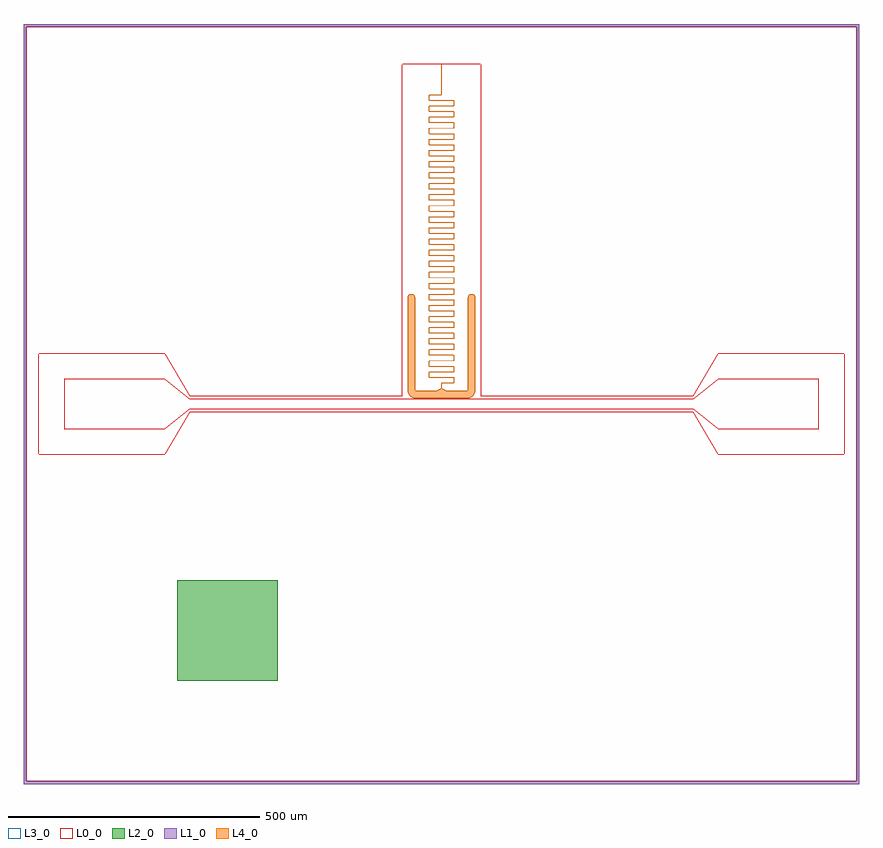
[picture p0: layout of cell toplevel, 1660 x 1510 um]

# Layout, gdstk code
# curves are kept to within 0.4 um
import gdstk
lib = gdstk.Library(unit=1e-6, precision=1e-09)
def R(c, l, rs):  # rectangles x0, y0, x1, y1
    for r in rs: c.add(gdstk.rectangle(r[:2], r[2:], *l))
def P(c, l, *ps):  # polygons
    for p in ps: c.add(gdstk.Polygon(p, *l))
L0_0 = (0, 0)
L1_0 = (1, 0)
L2_0 = (2, 0)
L3_0 = (3, 0)
L4_0 = (4, 0)

toplevel = lib.new_cell('toplevel')
P(toplevel, L0_0, [(825,750),(-825,750),(-825,-100),(-800,-100),(-800,100),(-550,100),(-500,15),(-77.5,15),(-77.5,675),(77.5,675),(77.5,15),(500,15),(550,100),(800,100),(800,-100),(550,-100),(500,-15),(-500,-15),(-550,-100),(-825,-100),(-825,-750),(825,-750)],
  [(-500,10),(-550,50),(-750,50),(-750,-50),(-550,-50),(-500,-10),(500,-10),(550,-50),(750,-50),(750,50),(550,50),(500,10)])
P(toplevel, L1_0, [(830,755),(-830,755),(-830,-750),(-825,-750),(-825,750),(825,750),(825,-750),(-825,-750),(-830,-750),(-830,-755),(830,-755)])
R(toplevel, L2_0, [(-525,-550,-325,-350)])
R(toplevel, L3_0, [(-825,-750,825,750)])
P(toplevel, L4_0, [(-60.327,218.493),(-63.17,217.797),(-65.303,216.303),(-66.797,214.17),(-67.493,211.327),(-67.49,30.69),(-66.789,24.362),(-64.798,19.329),(-62.071,15.873),(-58.548,13.355),(-54.237,11.735),(-49.225,11.054),(48.114,11.016),(54.237,11.735),(59.171,13.702),(62.627,16.429),(65.253,20.16),(66.858,24.658),(67.466,29.76),(67.5,211),(66.495,214.75),(63.17,217.797),(58.377,218.322),(54.47,216.067),(52.529,211.654),(52.499,31.64),(51.848,26.898),(47.275,26.004),(-48.105,26.021),(-51.746,26.754),(-52.485,30.608),(-52.507,211.327),(-53.203,214.17),(-54.933,216.53),(-57.435,218.048)],
  [(0.5,30.9),(0.505,40.377),(0.627,40.98),(0.945,41.284),(1.741,41.4),(23.423,41.403),(24.266,41.527),(24.893,41.877),(25.346,42.557),(25.499,43.524),(25.494,51.43),(25.376,52.155),(25.089,52.714),(24.387,53.23),(23.357,53.399),(-23.831,53.445),(-24.315,53.722),(-24.493,54.385),(-24.499,62.25),(-24.35,63.023),(-23.992,63.31),(-23.301,63.399),(24.08,63.476),(25.048,64.036),(25.475,65.128),(25.498,73.295),(25.287,74.385),(24.583,75.138),(23.404,75.398),(-23.831,75.445),(-24.31,75.714),(-24.492,76.362),(-24.404,84.908),(-24.06,85.282),(-23.317,85.399),(24.069,85.473),(25.031,86.016),(25.472,87.097),(25.499,95.22),(25.369,96.177),(25.096,96.704),(24.679,97.083),(23.423,97.397),(-23.811,97.441),(-24.298,97.699),(-24.488,98.31),(-24.5,106.03),(-24.295,107.105),(-23.414,107.397),(23.619,107.411),(24.409,107.579),(24.988,107.968),(25.35,108.568),(25.494,109.38),(25.464,117.766),(25.014,118.803),(24.058,119.329),(-23.382,119.402),(-24.237,119.632),(-24.495,120.423),(-24.489,128.475),(-24.307,129.09),(-23.843,129.352),(23.51,129.405),(24.332,129.55),(24.951,129.931),(25.342,130.546),(25.494,131.37),(25.464,139.766),(25.014,140.803),(24.058,141.329),(-23.382,141.402),(-24.237,141.632),(-24.495,142.415),(-24.49,150.468),(-24.31,151.086),(-23.843,151.352),(23.51,151.405),(24.332,151.55),(24.951,151.931),(25.338,152.535),(25.493,153.36),(25.464,161.766),(25.014,162.803),(24.058,163.329),(-23.382,163.402),(-24.234,163.629),(-24.494,164.408),(-24.49,172.468),(-24.31,173.086),(-23.843,173.352),(23.51,173.405),(24.332,173.55),(24.951,173.931),(25.338,174.535),(25.493,175.35),(25.464,183.766),(25.014,184.803),(24.058,185.329),(-23.382,185.402),(-24.234,185.629),(-24.494,186.4),(-24.49,194.468),(-24.31,195.086),(-23.843,195.352),(23.51,195.405),(24.332,195.55),(24.951,195.931),(25.338,196.535),(25.492,197.341),(25.464,205.766),(25.014,206.803),(24.058,207.329),(-23.382,207.402),(-24.23,207.626),(-24.494,208.392),(-24.49,216.468),(-24.31,217.086),(-23.843,217.352),(23.5,217.405),(24.321,217.546),(24.941,217.921),(25.334,218.524),(25.492,219.331),(25.464,227.766),(25.014,228.803),(24.058,229.329),(-23.382,229.402),(-24.23,229.626),(-24.493,230.385),(-24.49,238.468),(-24.31,239.086),(-23.843,239.352),(23.5,239.405),(24.321,239.546),(24.941,239.921),(25.33,240.513),(25.491,241.321),(25.464,249.766),(25.014,250.803),(24.058,251.329),(-23.382,251.402),(-24.227,251.623),(-24.493,252.377),(-24.49,260.468),(-24.31,261.086),(-23.843,261.352),(23.5,261.405),(24.321,261.546),(24.941,261.921),(25.33,262.513),(25.491,263.311),(25.464,271.766),(25.014,272.803),(24.058,273.329),(-23.374,273.402),(-24.223,273.62),(-24.492,274.362),(-24.49,282.468),(-24.31,283.086),(-23.843,283.352),(23.5,283.405),(24.321,283.546),(24.932,283.912),(25.325,284.502),(25.49,285.301),(25.464,293.766),(25.014,294.803),(24.058,295.329),(-23.374,295.402),(-24.223,295.62),(-24.492,296.355),(-24.49,304.468),(-24.31,305.086),(-23.843,305.352),(23.5,305.405),(24.321,305.546),(24.932,305.912),(25.321,306.491),(25.489,307.281),(25.464,315.766),(25.014,316.803),(24.058,317.329),(-23.374,317.402),(-24.22,317.617),(-24.491,318.34),(-24.49,326.468),(-24.31,327.086),(-23.843,327.352),(23.5,327.405),(24.31,327.542),(24.922,327.903),(25.316,328.48),(25.488,329.271),(25.464,337.766),(25.014,338.803),(24.058,339.329),(-23.374,339.402),(-24.216,339.614),(-24.49,340.332),(-24.49,348.468),(-24.31,349.086),(-23.843,349.352),(23.5,349.405),(24.31,349.542),(24.922,349.903),(25.316,350.48),(25.487,351.251),(25.464,359.766),(25.014,360.803),(24.058,361.329),(-23.374,361.402),(-24.213,361.611),(-24.489,362.317),(-24.49,370.468),(-24.31,371.086),(-23.843,371.352),(23.491,371.405),(24.299,371.538),(24.913,371.895),(25.307,372.458),(25.485,373.23),(25.464,381.766),(25.014,382.803),(24.058,383.329),(-23.374,383.402),(-24.213,383.611),(-24.488,384.303),(-24.49,392.468),(-24.31,393.086),(-23.843,393.352),(23.491,393.405),(24.299,393.538),(24.903,393.886),(25.302,394.447),(25.483,395.21),(25.464,403.766),(25.014,404.803),(24.058,405.329),(-23.366,405.401),(-24.205,405.605),(-24.486,406.288),(-24.49,414.468),(-24.31,415.086),(-23.843,415.352),(23.491,415.405),(24.288,415.534),(24.893,415.877),(25.297,416.437),(25.481,417.179),(25.465,425.756),(25.014,426.803),(24.058,427.329),(-23.366,427.401),(-24.201,427.602),(-24.484,428.266),(-24.49,436.468),(-24.31,437.086),(-23.843,437.352),(23.491,437.405),(24.288,437.534),(24.893,437.877),(25.292,438.426),(25.479,439.159),(25.465,447.756),(25.014,448.803),(24.058,449.329),(-23.366,449.401),(-24.194,449.596),(-24.482,450.245),(-24.491,458.46),(-24.31,459.086),(-23.843,459.352),(23.481,459.404),(24.277,459.531),(24.884,459.869),(25.282,460.404),(25.475,461.128),(25.465,469.756),(25.014,470.803),(24.058,471.329),(-23.358,471.401),(-24.19,471.593),(-24.48,472.224),(-24.49,480.468),(-24.307,481.09),(-23.837,481.354),(23.481,481.404),(24.266,481.527),(24.864,481.852),(25.272,482.382),(25.471,483.086),(25.465,491.756),(25.014,492.803),(24.058,493.329),(-23.358,493.401),(-24.182,493.587),(-24.476,494.196),(-24.491,502.46),(-24.307,503.09),(-23.837,503.354),(23.471,503.404),(24.255,503.524),(24.854,503.843),(25.255,504.349),(25.465,505.044),(25.466,513.745),(25.023,514.793),(24.069,515.327),(-23.358,515.401),(-24.174,515.582),(-24.473,516.168),(-24.491,524.46),(-24.307,525.09),(-23.837,525.354),(23.471,525.404),(24.244,525.52),(24.834,525.827),(25.238,526.317),(25.457,526.992),(25.466,535.745),(25.023,536.793),(24.069,537.327),(-23.35,537.401),(-24.158,537.571),(-24.466,538.128),(-24.491,546.46),(-24.307,547.09),(-23.837,547.354),(23.462,547.404),(24.222,547.513),(24.804,547.804),(25.214,548.274),(25.446,548.928),(25.468,557.735),(25.031,558.784),(24.069,559.327),(-23.342,559.401),(-24.145,559.563),(-24.459,560.089),(-24.491,568.453),(-24.31,569.086),(-23.837,569.354),(23.452,569.403),(24.2,569.507),(24.784,569.788),(25.196,570.242),(25.431,570.852),(25.468,579.735),(25.031,580.784),(24.069,581.327),(-23.333,581.401),(-24.123,581.55),(-24.447,582.031),(-24.491,590.453),(-24.31,591.086),(-23.837,591.354),(23.442,591.403),(24.732,591.752),(25.148,592.168),(25.405,592.744),(25.469,601.724),(25.031,602.784),(24.069,603.327),(-23.325,603.401),(-24.09,603.532),(-24.427,603.959),(-24.495,612.369),(-24.373,612.98),(-24.045,613.289),(-23.259,613.4),(-1.431,613.408),(-0.289,613.738),(0.358,614.59),(0.5,615.681),(0.5,674.9),(-0.5,674.9),(-0.586,614.92),(-0.901,614.537),(-1.578,614.403),(-23.301,614.399),(-24.474,614.192),(-25.183,613.579),(-25.483,612.59),(-25.499,604.58),(-25.383,603.667),(-25.119,603.127),(-24.7,602.731),(-23.433,602.403),(23.837,602.354),(24.31,602.086),(24.492,601.445),(24.439,593.001),(24.109,592.542),(23.333,592.401),(-24.069,592.327),(-25.031,591.784),(-25.469,590.724),(-25.419,581.798),(-25.176,581.21),(-24.763,580.773),(-24.189,580.504),(-23.452,580.403),(23.837,580.354),(24.31,580.086),(24.491,579.453),(24.454,571.063),(24.136,570.557),(23.342,570.401),(-24.069,570.327),(-25.031,569.784),(-25.468,568.735),(-25.44,559.896),(-25.208,559.263),(-24.794,558.796),(-24.211,558.51),(-23.462,558.404),(23.837,558.354),(24.31,558.086),(24.491,557.453),(24.463,549.108),(24.153,548.568),(23.35,548.401),(-24.069,548.327),(-25.023,547.793),(-25.466,546.745),(-25.452,537.96),(-25.233,537.306),(-24.824,536.819),(-24.233,536.517),(-23.462,536.404),(23.837,536.354),(24.307,536.09),(24.491,535.46),(24.469,527.148),(24.166,526.576),(23.35,526.401),(-24.069,526.327),(-25.023,525.793),(-25.466,524.745),(-25.462,516.023),(-25.25,515.339),(-24.844,514.835),(-24.244,514.52),(-23.471,514.404),(23.837,514.354),(24.307,514.09),(24.491,513.46),(24.475,505.182),(24.178,504.585),(23.358,504.401),(-24.069,504.327),(-25.023,503.793),(-25.466,502.745),(-25.468,494.065),(-25.266,493.371),(-24.864,492.852),(-24.266,492.527),(-23.481,492.404),(23.837,492.354),(24.307,492.09),(24.491,491.46),(24.478,483.21),(24.186,482.59),(23.358,482.401),(-24.058,482.329),(-25.014,481.803),(-25.465,480.756),(-25.473,472.107),(-25.277,471.393),(-24.874,470.86),(-24.277,470.531),(-23.481,470.404),(23.837,470.354),(24.307,470.09),(24.49,469.468),(24.481,461.238),(24.194,460.596),(23.366,460.401),(-24.058,460.329),(-25.014,459.803),(-25.465,458.756),(-25.477,450.138),(-25.287,449.415),(-24.884,448.869),(-24.277,448.531),(-23.481,448.404),(23.843,448.352),(24.31,448.086),(24.49,447.468),(24.484,439.259),(24.198,438.599),(23.366,438.401),(-24.058,438.329),(-25.014,437.803),(-25.465,436.756),(-25.48,428.169),(-25.292,427.426),(-24.893,426.877),(-24.288,426.534),(-23.491,426.405),(23.843,426.352),(24.31,426.086),(24.49,425.468),(24.486,417.281),(24.205,416.605),(23.366,416.401),(-24.058,416.329),(-25.014,415.803),(-25.465,414.756),(-25.483,406.2),(-25.302,405.447),(-24.903,404.886),(-24.299,404.538),(-23.491,404.405),(23.843,404.352),(24.31,404.086),(24.49,403.468),(24.487,395.295),(24.209,394.608),(23.366,394.401),(-24.058,394.329),(-25.014,393.803),(-25.464,392.766),(-25.484,384.22),(-25.307,383.458),(-24.913,382.895),(-24.299,382.538),(-23.491,382.405),(23.843,382.352),(24.31,382.086),(24.49,381.468),(24.488,373.31),(24.213,372.611),(23.374,372.402),(-24.058,372.329),(-25.014,371.803),(-25.464,370.766),(-25.486,362.241),(-25.312,361.469),(-24.913,360.895),(-24.31,360.542),(-23.5,360.405),(23.843,360.352),(24.31,360.086),(24.49,359.468),(24.489,351.325),(24.216,350.614),(23.374,350.402),(-24.058,350.329),(-25.014,349.803),(-25.464,348.766),(-25.487,340.261),(-25.316,339.48),(-24.922,338.903),(-24.31,338.542),(-23.5,338.405),(23.843,338.352),(24.31,338.086),(24.49,337.468),(24.491,329.34),(24.22,328.617),(23.374,328.402),(-24.058,328.329),(-25.014,327.803),(-25.464,326.766),(-25.488,318.271),(-25.316,317.48),(-24.922,316.903),(-24.31,316.542),(-23.5,316.405),(23.843,316.352),(24.31,316.086),(24.49,315.468),(24.491,307.347),(24.22,306.617),(23.374,306.402),(-24.058,306.329),(-25.014,305.803),(-25.464,304.766),(-25.489,296.291),(-25.325,295.502),(-24.932,294.912),(-24.321,294.546),(-23.5,294.405),(23.843,294.352),(24.31,294.086),(24.49,293.468),(24.492,285.362),(24.223,284.62),(23.374,284.402),(-24.058,284.329),(-25.014,283.803),(-25.464,282.766),(-25.49,274.301),(-25.325,273.502),(-24.932,272.912),(-24.321,272.546),(-23.5,272.405),(23.843,272.352),(24.31,272.086),(24.49,271.468),(24.492,263.37),(24.227,262.623),(23.382,262.402),(-24.058,262.329),(-25.014,261.803),(-25.464,260.766),(-25.491,252.321),(-25.33,251.513),(-24.941,250.921),(-24.321,250.546),(-23.5,250.405),(23.843,250.352),(24.31,250.086),(24.49,249.468),(24.493,241.377),(24.227,240.623),(23.382,240.402),(-24.058,240.329),(-25.014,239.803),(-25.464,238.766),(-25.492,230.331),(-25.334,229.524),(-24.941,228.921),(-24.321,228.546),(-23.5,228.405),(23.843,228.352),(24.31,228.086),(24.49,227.468),(24.493,219.385),(24.23,218.626),(23.382,218.402),(-24.058,218.329),(-25.014,217.803),(-25.464,216.766),(-25.492,208.341),(-25.338,207.535),(-24.951,206.931),(-24.332,206.55),(-23.51,206.405),(23.843,206.352),(24.31,206.086),(24.49,205.468),(24.494,197.392),(24.23,196.626),(23.382,196.402),(-24.058,196.329),(-25.014,195.803),(-25.464,194.766),(-25.493,186.35),(-25.338,185.535),(-24.951,184.931),(-24.332,184.55),(-23.51,184.405),(23.843,184.352),(24.31,184.086),(24.49,183.468),(24.494,175.4),(24.234,174.629),(23.382,174.402),(-24.058,174.329),(-25.014,173.803),(-25.464,172.766),(-25.493,164.36),(-25.338,163.535),(-24.951,162.931),(-24.332,162.55),(-23.51,162.405),(23.843,162.352),(24.31,162.086),(24.49,161.468),(24.494,153.408),(24.234,152.629),(23.382,152.402),(-24.058,152.329),(-25.014,151.803),(-25.464,150.766),(-25.494,142.37),(-25.342,141.546),(-24.951,140.931),(-24.332,140.55),(-23.51,140.405),(23.843,140.352),(24.31,140.086),(24.49,139.468),(24.495,131.415),(24.237,130.632),(23.382,130.402),(-24.058,130.329),(-25.014,129.803),(-25.464,128.766),(-25.494,120.38),(-25.346,119.557),(-24.96,118.94),(-24.343,118.554),(-23.51,118.405),(23.843,118.352),(24.307,118.09),(24.489,117.475),(24.495,109.423),(24.237,108.632),(23.382,108.402),(-23.629,108.388),(-24.474,108.192),(-25.081,107.724),(-25.416,107.013),(-25.459,98.002),(-24.997,96.978),(-24.026,96.464),(23.317,96.399),(24.08,96.273),(24.42,95.864),(24.492,87.362),(24.313,86.718),(23.837,86.446),(-23.414,86.398),(-24.637,86.108),(-25.338,85.265),(-25.499,84.257),(-25.473,76.107),(-25.04,75.026),(-24.08,74.476),(23.309,74.399),(24.029,74.295),(24.382,73.96),(24.499,73.225),(24.492,65.37),(24.313,64.718),(23.831,64.445),(-23.385,64.398),(-24.507,64.177),(-25.214,63.526),(-25.497,62.342),(-25.478,54.149),(-25.048,53.036),(-24.08,52.476),(23.284,52.4),(23.929,52.33),(24.301,52.098),(24.498,51.282),(24.497,43.486),(24.378,42.83),(24.035,42.507),(23.25,42.4),(1.586,42.398),(0.756,42.28),(0.126,41.94),(-0.312,41.331),(-0.491,40.479),(-0.5,30.9)],
  [(10,26),(0.5,30.9),(-0.5,30.9),(-10,26)])

lib.write_gds('toplevel.gds')
